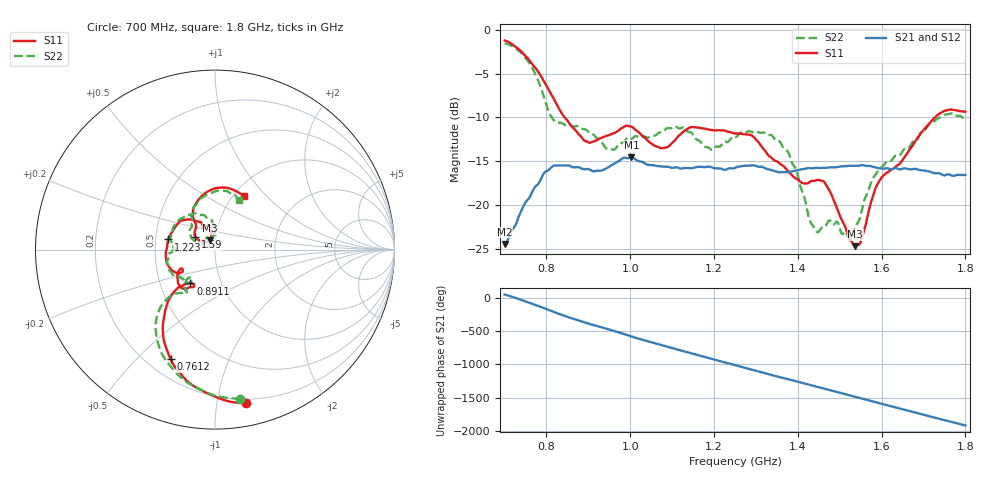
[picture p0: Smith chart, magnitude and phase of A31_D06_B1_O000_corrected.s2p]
! Created with skrf 1.9.0 (http://scikit-rf.org).
# Hz S RI R 50.0
!freq ReS11 ImS11 ReS21 ImS21 ReS12 ImS12 ReS22 ImS22
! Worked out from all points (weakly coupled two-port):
!   1601 points, 700 MHz to 1.8 GHz, reference 50 ohm
!   highest |S21| = -14.57 dB at 1.002 GHz (marker M1); lowest = -24.5 dB at 700.7 MHz (marker M2)
!   lowest |S11| = -24.7 dB at 1.537 GHz (marker M3), VSWR 1.12, Z = 47.1 + j4.84 ohm
!   |S11| at or under -10 dB: 843.5 MHz to 1.727 GHz (883.6 MHz wide, 68.8 % of centre)
!   |S22| runs from -24.1 to -1.5 dB; largest |S21 - S12| = 0.0034
!   S11 on the Smith chart (normalised r, x): 700 MHz: 0.17, -1.21; 761.2 MHz: 0.29, -0.63; 891.1 MHz: 0.71, -0.28; 1.223 GHz: 0.58, +0.07; 1.59 GHz: 0.79, +0.12; 1.8 GHz: 1.11, +0.76
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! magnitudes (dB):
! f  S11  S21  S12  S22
! 700 MHz  -1.2  -24.5  -24.2  -1.5
! 700.7 MHz  -1.2  -24.5  -24.2  -1.5
! 761.2 MHz  -3.6  -19.0  -18.9  -3.9
! 816.2 MHz  -7.8  -15.5  -15.6  -10.2
! 883.6 MHz  -12.3  -15.8  -15.7  -11.3
! 891.1 MHz  -12.7  -15.9  -15.9  -11.3
! 946.8 MHz  -12.1  -15.7  -15.7  -13.6
! 1.002 GHz  -11.0  -14.6  -14.7  -12.4
! 1.067 GHz  -13.4  -15.6  -15.5  -11.8
! 1.144 GHz  -11.1  -15.8  -15.8  -11.7
! 1.223 GHz  -11.5  -16.0  -16.0  -12.8
! 1.25 GHz  -11.8  -15.8  -15.7  -12.2
! 1.357 GHz  -15.3  -16.3  -16.2  -12.8
! 1.395 GHz  -17.0  -16.1  -16.1  -15.9
! 1.434 GHz  -17.2  -15.8  -15.8  -22.2
! 1.467 GHz  -17.6  -15.8  -15.7  -22.4
! 1.524 GHz  -23.9  -15.5  -15.5  -24.1
! 1.537 GHz  -24.7  -15.5  -15.5  -22.6
! 1.59 GHz  -17.7  -15.8  -15.8  -16.2
! 1.617 GHz  -16.2  -15.9  -15.8  -14.9
! 1.734 GHz  -9.7  -16.4  -16.4  -10.1
! 1.8 GHz  -9.3  -16.6  -16.6  -10.2
